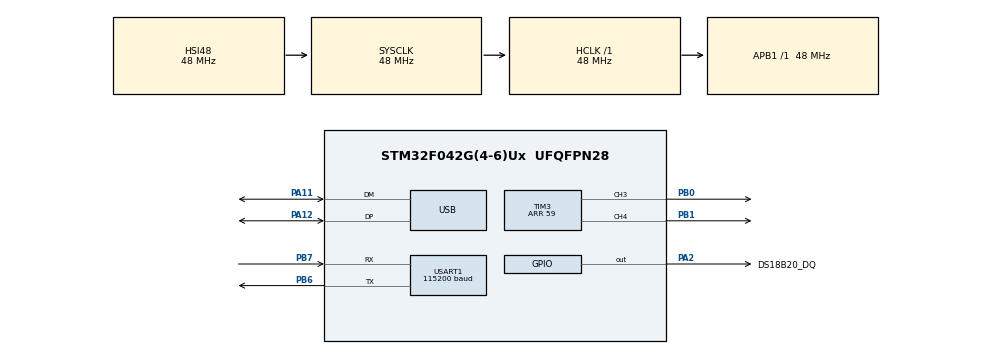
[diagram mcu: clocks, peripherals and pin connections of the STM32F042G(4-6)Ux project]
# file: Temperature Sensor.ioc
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Dma.Request0=TIM3_CH3
Dma.Request1=TIM3_CH4/UP
Dma.TIM3_CH3.0.Direction=DMA_MEMORY_TO_PERIPH
Dma.TIM3_CH3.0.Instance=DMA1_Channel2
Dma.TIM3_CH3.0.MemDataAlignment=DMA_MDATAALIGN_HALFWORD
Dma.TIM3_CH3.0.MemInc=DMA_MINC_ENABLE
Dma.TIM3_CH3.0.Mode=DMA_NORMAL
Dma.TIM3_CH3.0.PeriphDataAlignment=DMA_PDATAALIGN_HALFWORD
Dma.TIM3_CH3.0.PeriphInc=DMA_PINC_DISABLE
Dma.TIM3_CH3.0.Priority=DMA_PRIORITY_HIGH
Dma.TIM3_CH4/UP.1.Direction=DMA_MEMORY_TO_PERIPH
Dma.TIM3_CH4/UP.1.Instance=DMA1_Channel3
Dma.TIM3_CH4/UP.1.MemDataAlignment=DMA_MDATAALIGN_HALFWORD
Dma.TIM3_CH4/UP.1.MemInc=DMA_MINC_ENABLE
Dma.TIM3_CH4/UP.1.Mode=DMA_NORMAL
Dma.TIM3_CH4/UP.1.PeriphDataAlignment=DMA_PDATAALIGN_HALFWORD
Dma.TIM3_CH4/UP.1.PeriphInc=DMA_PINC_DISABLE
Dma.TIM3_CH4/UP.1.Priority=DMA_PRIORITY_HIGH
Mcu.Family=STM32F0
Mcu.Name=STM32F042G(4-6)Ux
Mcu.Package=UFQFPN28
NVIC.DMA1_Channel2_3_IRQn=true\:0\:0\:false\:false\:true\:false\:true\:true
PA11.Mode=Device
PA11.Signal=USB_DM
PA12.Mode=Device
PA12.Signal=USB_DP
PA13.Mode=Serial_Wire
PA13.Signal=SYS_SWDIO
PA14.Mode=Serial_Wire
PA14.Signal=SYS_SWCLK
PA2.GPIO_Label=DS18B20_DQ
PA2.GPIO_ModeDefaultOutputPP=GPIO_MODE_OUTPUT_OD
PA2.GPIO_PuPd=GPIO_NOPULL
PA2.PinState=GPIO_PIN_SET
PA2.Signal=GPIO_Output
PB0.Signal=S_TIM3_CH3
PB1.Signal=S_TIM3_CH4
PB6.Mode=Asynchronous
PB6.Signal=USART1_TX
PB7.Mode=Asynchronous
PB7.Signal=USART1_RX
ProjectManager.HeapSize=0x200
ProjectManager.StackSize=0x400
ProjectManager.TargetToolchain=MDK-ARM V5.32
RCC.AHBFreq_Value=48000000
RCC.APB1Freq_Value=48000000
RCC.APB1TimFreq_Value=48000000
RCC.HCLKFreq_Value=48000000
RCC.SYSCLKFreq_VALUE=48000000
RCC.SYSCLKSource=RCC_SYSCLKSOURCE_HSI48
SH.S_TIM3_CH3.0=TIM3_CH3,PWM Generation3 CH3
SH.S_TIM3_CH4.0=TIM3_CH4,PWM Generation4 CH4
TIM1.ClockDivision=TIM_CLOCKDIVISION_DIV2
TIM1.Period=59
TIM14.Prescaler=47
TIM3.Channel-PWM\ Generation3\ CH3=TIM_CHANNEL_3
TIM3.Channel-PWM\ Generation4\ CH4=TIM_CHANNEL_4
TIM3.Period=59
USART1.BaudRate=115200
USART1.VirtualMode-Asynchronous=VM_ASYNC
VP_SYS_VS_PINREMAP.Mode=PINREMAP
VP_TIM14_VS_ClockSourceINT.Mode=Enable_Timer
VP_TIM1_VS_ClockSourceINT.Mode=Internal
VP_TIM3_VS_ClockSourceINT.Mode=Internal
board=custom

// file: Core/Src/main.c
/* USER CODE BEGIN Header */
/**
  ******************************************************************************
  * @file           : main.c
  * @brief          : Main program body
  ******************************************************************************
  * @attention
  *
  * Copyright (c) 2026 STMicroelectronics.
  * All rights reserved.
  *
  * This software is licensed under terms that can be found in the LICENSE file
  * in the root directory of this software component.
  * If no LICENSE file comes with this software, it is provided AS-IS.
  *
  ******************************************************************************
  */
/* USER CODE END Header */
#include "main.h"
#include "dma.h"
#include "tim.h"
#include "usart.h"
#include "usb.h"
#include "gpio.h"

/* USER CODE BEGIN Includes */
#include <stdio.h>
#include <string.h>
/* USER CODE END Includes */

/* USER CODE BEGIN PTD */
typedef enum
{
  DS18B20_STATUS_OK = 0,
  DS18B20_STATUS_NO_DEVICE,
  DS18B20_STATUS_CRC_ERROR
} DS18B20_StatusTypeDef;
/* USER CODE END PTD */

/* USER CODE BEGIN PD */
#define DS18B20_CMD_SKIP_ROM        0xCCU			//不指定传感器地址，让总线上唯一的DS18B20接收后续命令
#define DS18B20_CMD_CONVERT_T       0x44U     //启动一次温度测量和模数转换。
#define DS18B20_CMD_READ_SCRATCHPAD 0xBEU			//读取DS18B20内部的9字节暂存器。
#define DS18B20_SCRATCHPAD_SIZE     9U
#define DS18B20_CONVERSION_TIME_MS  750U
#define DS18B20_UART_TIMEOUT_MS     100U
/* USER CODE END PD */

/* USER CODE BEGIN PV */
/* Keep the latest raw value visible in the debugger Watch window. */
volatile int16_t ds18b20_raw_temperature;
/* USER CODE END PV */

void SystemClock_Config(void);
/* USER CODE BEGIN PFP */
static void DelayUs(uint16_t microseconds);
static uint8_t DS18B20_Reset(void);
static void DS18B20_WriteBit(uint8_t bit_value);
static uint8_t DS18B20_ReadBit(void);
static void DS18B20_WriteByte(uint8_t data);
static uint8_t DS18B20_ReadByte(void);
static uint8_t DS18B20_CalculateCrc(const uint8_t *data, uint8_t length);
static DS18B20_StatusTypeDef DS18B20_StartConversion(void);
static DS18B20_StatusTypeDef DS18B20_ReadTemperature(int16_t *raw_temperature);
static void UART_SendString(const char *text);
static void UART_SendTemperature(int16_t raw_temperature);
/* USER CODE END PFP */

/* USER CODE BEGIN 0 */

/**
  * @brief Produce a blocking microsecond delay with the 1 MHz TIM14 counter.
		@brief TIM14每计数一次就过1us，所以这里实现了微秒级延时
  */
static void DelayUs(uint16_t microseconds)
{
  uint16_t start = (uint16_t)__HAL_TIM_GET_COUNTER(&htim14);

  while ((uint16_t)((uint16_t)__HAL_TIM_GET_COUNTER(&htim14) - start) < microseconds)
  {
  }
}

/**
  * @brief Reset the 1-Wire bus and detect the DS18B20 presence pulse.
		释放DQ 5 μs
		拉低DQ 480 μs
		释放DQ
		等待70 μs
		读取DQ
		再等待410 μs
		DQ为低电平 → DS18B20返回了存在脉冲
		DQ为高电平 → 没有传感器应答
  * @retval 1 when a sensor responds, otherwise 0.
  */
static uint8_t DS18B20_Reset(void)
{
  uint8_t presence;
  uint32_t primask = __get_PRIMASK();																					 //PRIMASK是 Cortex-M0内核中的一个寄存器，保存当前的中断开关状态

  __disable_irq();
  HAL_GPIO_WritePin(DS18B20_DQ_GPIO_Port, DS18B20_DQ_Pin, GPIO_PIN_SET);       //SET是置一，RESET是置零
  DelayUs(5U);
  HAL_GPIO_WritePin(DS18B20_DQ_GPIO_Port, DS18B20_DQ_Pin, GPIO_PIN_RESET);
  DelayUs(480U);
  HAL_GPIO_WritePin(DS18B20_DQ_GPIO_Port, DS18B20_DQ_Pin, GPIO_PIN_SET);
  DelayUs(70U);

  presence = (HAL_GPIO_ReadPin(DS18B20_DQ_GPIO_Port, DS18B20_DQ_Pin) == GPIO_PIN_RESET) ? 1U : 0U;
  DelayUs(410U);

  if (primask == 0U)																														//如果中断原来是开启的，就重新开启。如果中断原来就是关闭的，则保持关闭。
  {
    __enable_irq();
  }

  return presence;
}

/**
  * @brief Write one bit into a 1-Wire time slot.
		写1：拉低6 μs，然后释放64 μs
		写0：拉低60 μs，然后释放10 μs
  */
static void DS18B20_WriteBit(uint8_t bit_value)
{
  uint32_t primask = __get_PRIMASK();

  __disable_irq();
  HAL_GPIO_WritePin(DS18B20_DQ_GPIO_Port, DS18B20_DQ_Pin, GPIO_PIN_RESET);

  if (bit_value != 0U)
  {
    DelayUs(6U);
    HAL_GPIO_WritePin(DS18B20_DQ_GPIO_Port, DS18B20_DQ_Pin, GPIO_PIN_SET);
    DelayUs(64U);
  }
  else
  {
    DelayUs(60U);
    HAL_GPIO_WritePin(DS18B20_DQ_GPIO_Port, DS18B20_DQ_Pin, GPIO_PIN_SET);
    DelayUs(10U);
  }

  if (primask == 0U)
  {
    __enable_irq();
  }
}

/**
  * @brief Read one bit from a 1-Wire time slot.
		MCU短暂拉低PA2，发起读取
		→ MCU释放PA2
		→ DS18B20决定保持低电平还是释放总线
		→ MCU读取PA2电平
		→ 返回0或1
  */
static uint8_t DS18B20_ReadBit(void)
{
  uint8_t bit_value;
  uint32_t primask = __get_PRIMASK();

  __disable_irq();
  HAL_GPIO_WritePin(DS18B20_DQ_GPIO_Port, DS18B20_DQ_Pin, GPIO_PIN_RESET);
  DelayUs(3U);
  HAL_GPIO_WritePin(DS18B20_DQ_GPIO_Port, DS18B20_DQ_Pin, GPIO_PIN_SET);
  DelayUs(10U);
  bit_value = (HAL_GPIO_ReadPin(DS18B20_DQ_GPIO_Port, DS18B20_DQ_Pin) == GPIO_PIN_SET) ? 1U : 0U;
  DelayUs(53U);

  if (primask == 0U)
  {
    __enable_irq();
  }

  return bit_value;
}

/**
  * @brief Write one byte, least-significant bit first as required by 1-Wire.
  */
static void DS18B20_WriteByte(uint8_t data)
{
  for (uint8_t bit = 0U; bit < 8U; bit++)
  {
    DS18B20_WriteBit(data & 0x01U);
    data >>= 1U;
  }
}

/**
  * @brief Read one byte, least-significant bit first.
  */
static uint8_t DS18B20_ReadByte(void)
{
  uint8_t data = 0U;

  for (uint8_t bit = 0U; bit < 8U; bit++)
  {
    data |= (uint8_t)(DS18B20_ReadBit() << bit);
  }

  return data;
}

/**
  * @brief Calculate the Dallas/Maxim 1-Wire CRC-8 value.
  */
static uint8_t DS18B20_CalculateCrc(const uint8_t *data, uint8_t length)
{
  uint8_t crc = 0U;

  for (uint8_t index = 0U; index < length; index++)
  {
    uint8_t current_byte = data[index];

    for (uint8_t bit = 0U; bit < 8U; bit++)
    {
      uint8_t mix = (uint8_t)((crc ^ current_byte) & 0x01U);
      crc >>= 1U;
      if (mix != 0U)
      {
        crc ^= 0x8CU;
      }
      current_byte >>= 1U;
    }
  }

  return crc;
}

/**
  * @brief Ask the only sensor on the bus to start a temperature conversion.
  */
static DS18B20_StatusTypeDef DS18B20_StartConversion(void)
{
  if (DS18B20_Reset() == 0U)
  {
    return DS18B20_STATUS_NO_DEVICE;
  }

  DS18B20_WriteByte(DS18B20_CMD_SKIP_ROM);
  DS18B20_WriteByte(DS18B20_CMD_CONVERT_T);
  return DS18B20_STATUS_OK;
}

/**
  * @brief Read and validate the sensor scratchpad, then return the raw value.
  */
static DS18B20_StatusTypeDef DS18B20_ReadTemperature(int16_t *raw_temperature)
{
  uint8_t scratchpad[DS18B20_SCRATCHPAD_SIZE];

  if (DS18B20_Reset() == 0U)
  {
    return DS18B20_STATUS_NO_DEVICE;
  }

  DS18B20_WriteByte(DS18B20_CMD_SKIP_ROM);
  DS18B20_WriteByte(DS18B20_CMD_READ_SCRATCHPAD);

  for (uint8_t index = 0U; index < DS18B20_SCRATCHPAD_SIZE; index++)
  {
    scratchpad[index] = DS18B20_ReadByte();
  }

  if (DS18B20_CalculateCrc(scratchpad, 8U) != scratchpad[8])
  {
    return DS18B20_STATUS_CRC_ERROR;
  }

  *raw_temperature = (int16_t)(((uint16_t)scratchpad[1] << 8U) | scratchpad[0]);    //把两个8位字节组合成一个16位温度原始值
  return DS18B20_STATUS_OK;
}

/**
  * @brief Send a zero-terminated message over USART1.
  */
static void UART_SendString(const char *text)
{
  (void)HAL_UART_Transmit(&huart1,
                          (const uint8_t *)text,
                          (uint16_t)strlen(text),
                          DS18B20_UART_TIMEOUT_MS);
}

/**
  * @brief Print a signed raw temperature with its exact 0.0625 C resolution.
  */
static void UART_SendTemperature(int16_t raw_temperature)
{
  char message[40];
  int32_t signed_raw = raw_temperature;
  uint32_t magnitude = (signed_raw < 0) ? (uint32_t)(-signed_raw) : (uint32_t)signed_raw;			//取温度的绝对值
  uint32_t integer_part = magnitude / 16U;																										//计算整数部分
  uint32_t fractional_part = (magnitude % 16U) * 625U;																				//计算小数部分
  int length;

  length = snprintf(message,
                    sizeof(message),
                    "Temperature: %s%lu.%04lu C\r\n",
										//%s：负数时插入 "-"，正数时插入空字符串。
										//%lu：输出整数部分。
										//%04lu：小数部分固定输出4位，不足时前面补零。
										//\r\n：串口换行。
                    (signed_raw < 0) ? "-" : "",
                    (unsigned long)integer_part,
                    (unsigned long)fractional_part);

  if (length > 0)
  {
    (void)HAL_UART_Transmit(&huart1,
                            (const uint8_t *)message,
                            (uint16_t)length,
                            DS18B20_UART_TIMEOUT_MS);
  }
}

/* USER CODE END 0 */

int main(void)
{

  /* MCU Configuration--------------------------------------------------------*/

  /* Reset of all peripherals, Initializes the Flash interface and the Systick. */
  HAL_Init();

  /* Configure the system clock */
  SystemClock_Config();

  /* Initialize all configured peripherals */
  MX_GPIO_Init();
  MX_DMA_Init();
  MX_TIM1_Init();
  MX_USART1_UART_Init();
  MX_USB_PCD_Init();
  MX_TIM3_Init();
  MX_TIM14_Init();
  /* USER CODE BEGIN 2 */

  /* TIM14 counts at 1 MHz, so one counter tick equals one microsecond. */
  if (HAL_TIM_Base_Start(&htim14) != HAL_OK)
  {
    Error_Handler();
  }

  UART_SendString("DS18B20 temperature test started\r\n");

  /* USER CODE END 2 */

  /* Infinite loop */
  while (1)
  {

    /* USER CODE BEGIN 3 */
    DS18B20_StatusTypeDef status;
    int16_t raw_temperature;

    status = DS18B20_StartConversion();
    if (status == DS18B20_STATUS_NO_DEVICE)
    {
      UART_SendString("DS18B20 error: no presence\r\n");
      HAL_Delay(1000U);
      continue;
    }

    /* The power-on default is 12-bit resolution, requiring up to 750 ms. */
    HAL_Delay(DS18B20_CONVERSION_TIME_MS);
    status = DS18B20_ReadTemperature(&raw_temperature);

    if (status == DS18B20_STATUS_OK)
    {
      ds18b20_raw_temperature = raw_temperature;
      UART_SendTemperature(raw_temperature);
    }
    else if (status == DS18B20_STATUS_CRC_ERROR)
    {
      UART_SendString("DS18B20 error: CRC mismatch\r\n");
    }
    else
    {
      UART_SendString("DS18B20 error: no presence\r\n");
    }

    /* Together with conversion time, this gives roughly one report per second. */
    HAL_Delay(250U);
  }
  /* USER CODE END 3 */
}

void SystemClock_Config(void)
{
  RCC_OscInitTypeDef RCC_OscInitStruct = {0};
  RCC_ClkInitTypeDef RCC_ClkInitStruct = {0};
  RCC_PeriphCLKInitTypeDef PeriphClkInit = {0};

  /** Initializes the RCC Oscillators according to the specified parameters
  * in the RCC_OscInitTypeDef structure.
  */
  RCC_OscInitStruct.OscillatorType = RCC_OSCILLATORTYPE_HSI48;
  RCC_OscInitStruct.HSI48State = RCC_HSI48_ON;
  RCC_OscInitStruct.PLL.PLLState = RCC_PLL_NONE;
  if (HAL_RCC_OscConfig(&RCC_OscInitStruct) != HAL_OK)
  {
    Error_Handler();
  }

  /** Initializes the CPU, AHB and APB buses clocks
  */
  RCC_ClkInitStruct.ClockType = RCC_CLOCKTYPE_HCLK|RCC_CLOCKTYPE_SYSCLK
                              |RCC_CLOCKTYPE_PCLK1;
  RCC_ClkInitStruct.SYSCLKSource = RCC_SYSCLKSOURCE_HSI48;
  RCC_ClkInitStruct.AHBCLKDivider = RCC_SYSCLK_DIV1;
  RCC_ClkInitStruct.APB1CLKDivider = RCC_HCLK_DIV1;

  if (HAL_RCC_ClockConfig(&RCC_ClkInitStruct, FLASH_LATENCY_1) != HAL_OK)
  {
    Error_Handler();
  }
  PeriphClkInit.PeriphClockSelection = RCC_PERIPHCLK_USB|RCC_PERIPHCLK_USART1;
  PeriphClkInit.Usart1ClockSelection = RCC_USART1CLKSOURCE_PCLK1;
  PeriphClkInit.UsbClockSelection = RCC_USBCLKSOURCE_HSI48;

  if (HAL_RCCEx_PeriphCLKConfig(&PeriphClkInit) != HAL_OK)
  {
    Error_Handler();
  }
}

void Error_Handler(void)
{
  __disable_irq();
  while (1)
  {
  }
}
